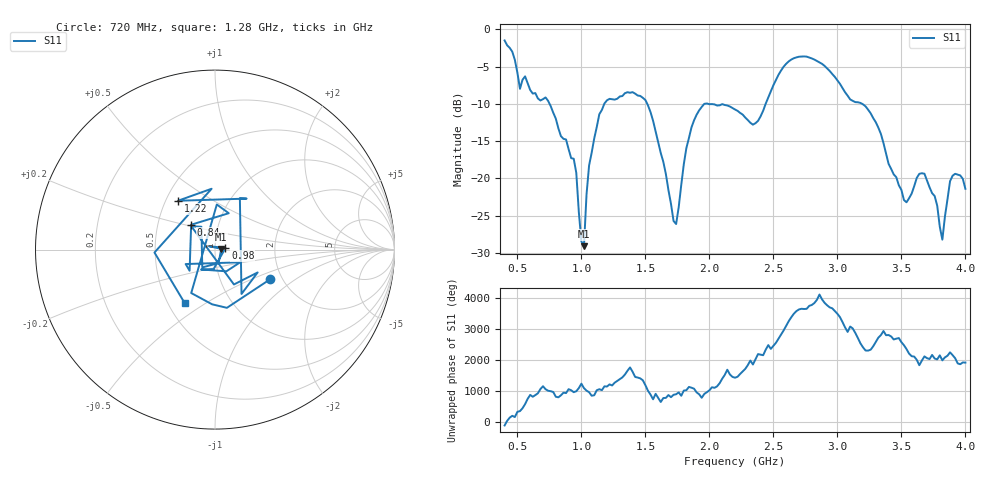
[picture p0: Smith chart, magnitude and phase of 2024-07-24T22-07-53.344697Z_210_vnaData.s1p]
!Created with skrf (http://scikit-rf.org).
# Hz S RI R 50.0
!freq ReS11 ImS11
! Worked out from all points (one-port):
!   181 points, 400 MHz to 4 GHz, reference 50 ohm
!   lowest |S11| = -29.1 dB at 1.02 GHz (marker M1), VSWR 1.07, Z = 53.6 + j0.433 ohm
!   |S11| at or under -10 dB: 1.515 GHz to 1.96 GHz (445.3 MHz wide, 25.6 % of centre); 1.991 GHz to 2.439 GHz (448.4 MHz wide, 20.2 % of centre); 3.193 GHz to end of sweep (the widest 3 of 4)
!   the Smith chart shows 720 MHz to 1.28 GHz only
!   S11 on the Smith chart (normalised r, x): 720 MHz: 1.73, -0.65; 840 MHz: 0.74, +0.21; 980 MHz: 1.12, +0.02; 1.22 GHz: 0.58, +0.36; 1.28 GHz: 0.61, -0.41
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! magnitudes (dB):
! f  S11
! 400 MHz  -1.5
! 520 MHz  -8.0
! 720 MHz  -9.1
! 840 MHz  -14.3
! 860 MHz  -14.7
! 940 MHz  -17.4
! 980 MHz  -24.6
! 1.02 GHz  -29.1
! 1.06 GHz  -18.3
! 1.14 GHz  -11.4
! 1.22 GHz  -9.3
! 1.28 GHz  -9.3
! 1.3 GHz  -9.0
! 1.5 GHz  -9.5
! 1.72 GHz  -25.7
! 1.76 GHz  -23.9
! 1.82 GHz  -15.9
! 1.9 GHz  -11.5
! 2.2 GHz  -10.8
! 2.36 GHz  -12.6
! 2.66 GHz  -3.9
! 3.1 GHz  -9.4
! 3.26 GHz  -11.3
! 3.56 GHz  -22.7
! 3.68 GHz  -19.4
! 3.82 GHz  -28.2
! 3.88 GHz  -20.4
! 4 GHz  -21.4
